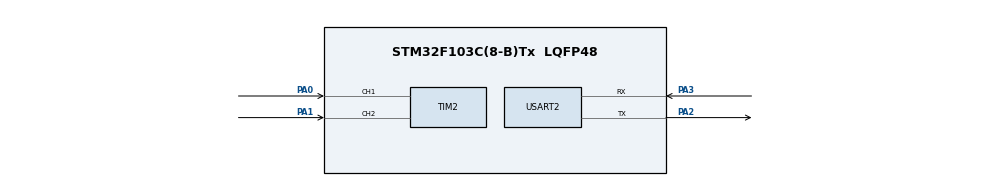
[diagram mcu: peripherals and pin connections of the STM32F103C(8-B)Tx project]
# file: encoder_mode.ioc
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Mcu.Family=STM32F1
Mcu.Name=STM32F103C(8-B)Tx
Mcu.Package=LQFP48
NVIC.PriorityGroup=NVIC_PRIORITYGROUP_4
PA0-WKUP.GPIO_PuPd=GPIO_PULLUP
PA0-WKUP.Signal=S_TIM2_CH1_ETR
PA1.GPIO_PuPd=GPIO_PULLUP
PA1.Signal=S_TIM2_CH2
PA13.Mode=Serial_Wire
PA13.Signal=SYS_JTMS-SWDIO
PA14.Mode=Serial_Wire
PA14.Signal=SYS_JTCK-SWCLK
PA2.Mode=Asynchronous
PA2.Signal=USART2_TX
PA3.Mode=Asynchronous
PA3.Signal=USART2_RX
PD0-OSC_IN.Mode=HSE-External-Oscillator
PD0-OSC_IN.Signal=RCC_OSC_IN
PD1-OSC_OUT.Mode=HSE-External-Oscillator
PD1-OSC_OUT.Signal=RCC_OSC_OUT
ProjectManager.HeapSize=0x200
ProjectManager.StackSize=0x400
ProjectManager.TargetToolchain=MDK-ARM V5.32
RCC.APB1Freq_Value=8000000
RCC.APB2Freq_Value=8000000
RCC.SYSCLKSource=RCC_SYSCLKSOURCE_PLLCLK
SH.S_TIM2_CH1_ETR.0=TIM2_CH1,Encoder_Interface
SH.S_TIM2_CH2.0=TIM2_CH2,Encoder_Interface
USART2.VirtualMode=VM_ASYNC
board=custom

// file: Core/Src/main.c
/* USER CODE BEGIN Header */
/**
  ******************************************************************************
  * @file           : main.c
  * @brief          : Main program body
  ******************************************************************************
  * @attention
  *
  * Copyright (c) 2025 STMicroelectronics.
  * All rights reserved.
  *
  * This software is licensed under terms that can be found in the LICENSE file
  * in the root directory of this software component.
  * If no LICENSE file comes with this software, it is provided AS-IS.
  *
  ******************************************************************************
  */
/* USER CODE END Header */
#include "main.h"

/* USER CODE BEGIN Includes */
#include "stdio.h"
/* USER CODE END Includes */

TIM_HandleTypeDef htim2;

UART_HandleTypeDef huart2;

void SystemClock_Config(void);
static void MX_GPIO_Init(void);
static void MX_TIM2_Init(void);
static void MX_USART2_UART_Init(void);

int main(void)
{

  /* MCU Configuration--------------------------------------------------------*/

  /* Reset of all peripherals, Initializes the Flash interface and the Systick. */
  HAL_Init();

  /* Configure the system clock */
  SystemClock_Config();

  /* Initialize all configured peripherals */
  MX_GPIO_Init();
  MX_TIM2_Init();
  MX_USART2_UART_Init();
  /* USER CODE BEGIN 2 */
	HAL_TIM_Encoder_Start(&htim2, TIM_CHANNEL_1);
	uint32_t counter=0;
  /* USER CODE END 2 */

  /* Infinite loop */
  /* USER CODE BEGIN WHILE */
  while (1)
  {
		counter = __HAL_TIM_GetCounter(&htim2);
		printf("the counter register : %d\r\n",counter);
		HAL_Delay(1000);
    /* USER CODE END WHILE */

  }
}

void SystemClock_Config(void)
{
  RCC_OscInitTypeDef RCC_OscInitStruct = {0};
  RCC_ClkInitTypeDef RCC_ClkInitStruct = {0};

  /** Initializes the RCC Oscillators according to the specified parameters
  * in the RCC_OscInitTypeDef structure.
  */
  RCC_OscInitStruct.OscillatorType = RCC_OSCILLATORTYPE_HSI;
  RCC_OscInitStruct.HSIState = RCC_HSI_ON;
  RCC_OscInitStruct.HSICalibrationValue = RCC_HSICALIBRATION_DEFAULT;
  RCC_OscInitStruct.PLL.PLLState = RCC_PLL_ON;
  RCC_OscInitStruct.PLL.PLLSource = RCC_PLLSOURCE_HSI_DIV2;
  RCC_OscInitStruct.PLL.PLLMUL = RCC_PLL_MUL2;
  if (HAL_RCC_OscConfig(&RCC_OscInitStruct) != HAL_OK)
  {
    Error_Handler();
  }

  /** Initializes the CPU, AHB and APB buses clocks
  */
  RCC_ClkInitStruct.ClockType = RCC_CLOCKTYPE_HCLK|RCC_CLOCKTYPE_SYSCLK
                              |RCC_CLOCKTYPE_PCLK1|RCC_CLOCKTYPE_PCLK2;
  RCC_ClkInitStruct.SYSCLKSource = RCC_SYSCLKSOURCE_PLLCLK;
  RCC_ClkInitStruct.AHBCLKDivider = RCC_SYSCLK_DIV1;
  RCC_ClkInitStruct.APB1CLKDivider = RCC_HCLK_DIV1;
  RCC_ClkInitStruct.APB2CLKDivider = RCC_HCLK_DIV1;

  if (HAL_RCC_ClockConfig(&RCC_ClkInitStruct, FLASH_LATENCY_0) != HAL_OK)
  {
    Error_Handler();
  }
}

static void MX_TIM2_Init(void)
{

  TIM_Encoder_InitTypeDef sConfig = {0};
  TIM_MasterConfigTypeDef sMasterConfig = {0};

  htim2.Instance = TIM2;
  htim2.Init.Prescaler = 0;
  htim2.Init.CounterMode = TIM_COUNTERMODE_UP;
  htim2.Init.Period = 65535;
  htim2.Init.ClockDivision = TIM_CLOCKDIVISION_DIV1;
  htim2.Init.AutoReloadPreload = TIM_AUTORELOAD_PRELOAD_DISABLE;
  sConfig.EncoderMode = TIM_ENCODERMODE_TI1;
  sConfig.IC1Polarity = TIM_ICPOLARITY_RISING;
  sConfig.IC1Selection = TIM_ICSELECTION_DIRECTTI;
  sConfig.IC1Prescaler = TIM_ICPSC_DIV1;
  sConfig.IC1Filter = 0;
  sConfig.IC2Polarity = TIM_ICPOLARITY_RISING;
  sConfig.IC2Selection = TIM_ICSELECTION_DIRECTTI;
  sConfig.IC2Prescaler = TIM_ICPSC_DIV1;
  sConfig.IC2Filter = 0;
  if (HAL_TIM_Encoder_Init(&htim2, &sConfig) != HAL_OK)
  {
    Error_Handler();
  }
  sMasterConfig.MasterOutputTrigger = TIM_TRGO_RESET;
  sMasterConfig.MasterSlaveMode = TIM_MASTERSLAVEMODE_DISABLE;
  if (HAL_TIMEx_MasterConfigSynchronization(&htim2, &sMasterConfig) != HAL_OK)
  {
    Error_Handler();
  }

}

static void MX_USART2_UART_Init(void)
{

  huart2.Instance = USART2;
  huart2.Init.BaudRate = 115200;
  huart2.Init.WordLength = UART_WORDLENGTH_8B;
  huart2.Init.StopBits = UART_STOPBITS_1;
  huart2.Init.Parity = UART_PARITY_NONE;
  huart2.Init.Mode = UART_MODE_TX_RX;
  huart2.Init.HwFlowCtl = UART_HWCONTROL_NONE;
  huart2.Init.OverSampling = UART_OVERSAMPLING_16;
  if (HAL_UART_Init(&huart2) != HAL_OK)
  {
    Error_Handler();
  }

}

static void MX_GPIO_Init(void)
{

  /* GPIO Ports Clock Enable */
  __HAL_RCC_GPIOD_CLK_ENABLE();
  __HAL_RCC_GPIOA_CLK_ENABLE();

}

/* USER CODE BEGIN 4 */
struct __FILE{
  int handle;
  /* Whatever you require here. If the only file you are using is */
  /* standard output using printf() for debugging, no file handling */
  /* is required. */
};
FILE __stdout;

int fputc(int ch, FILE *f){
	HAL_UART_Transmit(&huart2, (uint8_t *)&ch, 1, 0xFFFF);
  return ch;
}

int ferror(FILE *f){
  /* Your implementation of ferror(). */
  return 0;
}
/* USER CODE END 4 */

void Error_Handler(void)
{
  __disable_irq();
  while (1)
  {
  }
}
